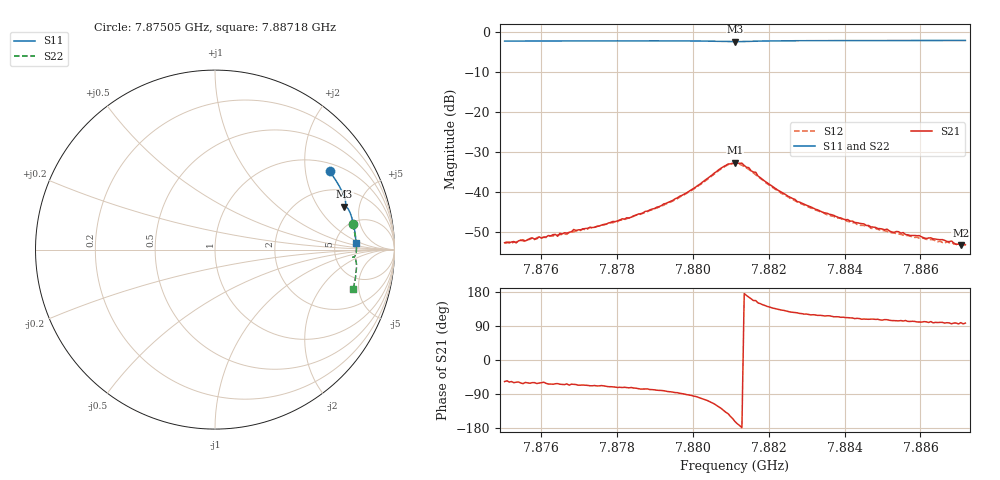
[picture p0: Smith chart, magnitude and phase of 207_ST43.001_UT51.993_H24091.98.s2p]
#  HZ  S  DB  R  50.00
! Rohde & Schwarz Vector Network Analyzer
! Rohde-Schwarz,ZNB20-2Port,1311601062101988,3.16
! Created: UTC 1/12/2023, 6:44:47 PM
! freq[Hz]  db:S11  ang:S11  db:S21  ang:S21  db:S12  ang:S12  db:S22  ang:S22
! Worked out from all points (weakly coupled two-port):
!   201 points, 7.87505 GHz to 7.88718 GHz, reference 50 ohm
!   highest |S21| = -32.58 dB at 7.88112 GHz (marker M1); lowest = -53.3 dB at 7.88706 GHz (marker M2)
!   lowest |S11| = -2.4 dB at 7.88112 GHz (marker M3), VSWR 7.33, Z = 156 + j177 ohm
!   |S11| at or under -10 dB: nowhere
!   |S22| runs from -2.3 to -1.9 dB; largest |S21 - S12| = 0.0021
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7.875052e9  -2.24 34.4  -52.62 -56.8  -52.78 -60.3  -2.16 10.5
7.875355e9  -2.23 33.5  -52.67 -58.7  -52.45 -61.4  -2.15 9.8
7.875476e9  -2.22 33.2  -51.99 -60.7  -52.02 -61.3  -2.15 9.5
7.876386e9  -2.21 30.7  -50.55 -62.7  -50.58 -66.1  -2.13 7.4
7.876447e9  -2.21 30.6  -51.00 -62.3  -50.72 -65.6  -2.12 7.3
7.876507e9  -2.21 30.4  -50.30 -63.9  -50.56 -67.7  -2.12 7.0
7.877114e9  -2.20 28.7  -49.16 -66.0  -49.18 -70.8  -2.11 5.7
7.878024e9  -2.19 26.2  -47.14 -72.4  -47.41 -73.8  -2.08 3.6
7.879115e9  -2.18 23.2  -43.61 -80.2  -43.71 -84.4  -2.07 1.0
7.879965e9  -2.20 20.7  -39.41 -93.4  -39.61 -97.4  -2.08 -1.3
7.880874e9  -2.35 18.4  -33.31 -137.9  -33.44 -141.1  -2.24 -3.1
7.881117e9  -2.39 18.4  -32.58 -162.4  -32.82 -164.4  -2.28 -3.1
7.881299e9  -2.36 18.4  -32.75 -178.7  -33.27 177.6  -2.26 -3.0
7.882269e9  -2.17 16.0  -39.63 133.1  -39.80 129.6  -2.05 -4.8
7.883179e9  -2.13 13.4  -43.98 119.5  -44.16 116.2  -2.00 -7.1
7.884392e9  -2.11 10.2  -47.76 109.3  -48.27 106.1  -1.97 -9.8
7.885181e9  -2.10 8.1  -49.66 105.0  -49.96 100.9  -1.96 -11.6
7.886636e9  -2.08 4.2  -52.04 97.4  -52.75 94.5  -1.94 -14.8
7.886818e9  -2.08 3.8  -52.20 95.5  -52.45 95.9  -1.94 -15.1
7.887061e9  -2.08 3.1  -53.27 98.7  -53.18 92.9  -1.95 -15.7
7.887122e9  -2.08 3.0  -52.60 95.3  -53.07 94.3  -1.94 -15.7
7.887182e9  -2.08 2.8  -53.15 97.4  -53.48 93.8  -1.94 -16.0
